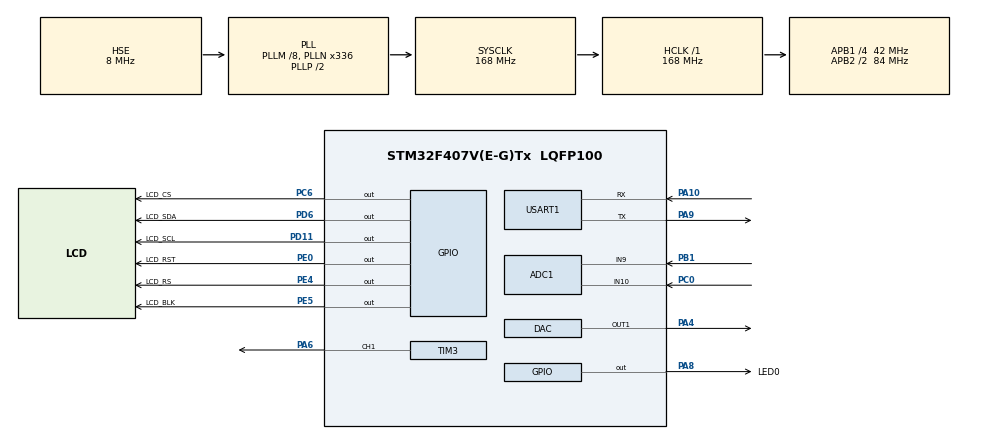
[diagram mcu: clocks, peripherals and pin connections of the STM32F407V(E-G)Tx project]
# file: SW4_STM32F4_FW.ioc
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ADC1.Channel-0\#ChannelRegularConversion=ADC_CHANNEL_9
ADC1.Channel-1\#ChannelRegularConversion=ADC_CHANNEL_10
ADC1.Channel-2\#ChannelRegularConversion=ADC_CHANNEL_TEMPSENSOR
ADC1.ContinuousConvMode=ENABLE
ADC1.DMAContinuousRequests=ENABLE
ADC1.NbrOfConversion=3
ADC1.NbrOfConversionFlag=1
ADC1.Rank-0\#ChannelRegularConversion=1
ADC1.Rank-1\#ChannelRegularConversion=2
ADC1.Rank-2\#ChannelRegularConversion=3
ADC1.SamplingTime-0\#ChannelRegularConversion=ADC_SAMPLETIME_144CYCLES
ADC1.SamplingTime-1\#ChannelRegularConversion=ADC_SAMPLETIME_144CYCLES
ADC1.SamplingTime-2\#ChannelRegularConversion=ADC_SAMPLETIME_144CYCLES
ADC1.ScanConvMode=ENABLE
ADC1.master=1
DAC.DAC_Trigger=DAC_TRIGGER_T6_TRGO
DAC.TriangleAmplitude=DAC_TRIANGLEAMPLITUDE_4095
DAC.WaveGeneration=TriangleWaveGeneration
Dma.ADC1.0.Direction=DMA_PERIPH_TO_MEMORY
Dma.ADC1.0.FIFOMode=DMA_FIFOMODE_DISABLE
Dma.ADC1.0.Instance=DMA2_Stream0
Dma.ADC1.0.MemDataAlignment=DMA_MDATAALIGN_HALFWORD
Dma.ADC1.0.MemInc=DMA_MINC_ENABLE
Dma.ADC1.0.Mode=DMA_NORMAL
Dma.ADC1.0.PeriphDataAlignment=DMA_PDATAALIGN_HALFWORD
Dma.ADC1.0.PeriphInc=DMA_PINC_DISABLE
Dma.ADC1.0.Priority=DMA_PRIORITY_LOW
Dma.DAC1.1.Direction=DMA_MEMORY_TO_PERIPH
Dma.DAC1.1.FIFOMode=DMA_FIFOMODE_DISABLE
Dma.DAC1.1.Instance=DMA1_Stream5
Dma.DAC1.1.MemDataAlignment=DMA_MDATAALIGN_HALFWORD
Dma.DAC1.1.MemInc=DMA_MINC_ENABLE
Dma.DAC1.1.Mode=DMA_NORMAL
Dma.DAC1.1.PeriphDataAlignment=DMA_PDATAALIGN_HALFWORD
Dma.DAC1.1.PeriphInc=DMA_PINC_DISABLE
Dma.DAC1.1.Priority=DMA_PRIORITY_LOW
Dma.Request0=ADC1
Dma.Request1=DAC1
Mcu.Family=STM32F4
Mcu.Name=STM32F407V(E-G)Tx
Mcu.Package=LQFP100
NVIC.ADC_IRQn=true\:2\:0\:true\:false\:true\:true\:true
NVIC.DMA1_Stream5_IRQn=true\:1\:0\:true\:false\:true\:false\:true
NVIC.DMA2_Stream0_IRQn=true\:1\:0\:true\:false\:true\:false\:true
NVIC.PriorityGroup=NVIC_PRIORITYGROUP_4
NVIC.TIM3_IRQn=true\:2\:0\:true\:false\:true\:true\:true
NVIC.TIM6_DAC_IRQn=true\:2\:0\:true\:false\:true\:true\:true
NVIC.USART1_IRQn=true\:1\:0\:true\:false\:true\:true\:true
PA10.Mode=Asynchronous
PA10.Signal=USART1_RX
PA13.Mode=Serial_Wire
PA13.Signal=SYS_JTMS-SWDIO
PA14.Mode=Serial_Wire
PA14.Signal=SYS_JTCK-SWCLK
PA4.Signal=COMP_DAC1_group
PA6.Signal=S_TIM3_CH1
PA8.GPIO_Label=LED0
PA8.GPIO_PuPd=GPIO_PULLDOWN
PA8.PinState=GPIO_PIN_SET
PA8.Signal=GPIO_Output
PA9.Mode=Asynchronous
PA9.Signal=USART1_TX
PB1.Signal=ADCx_IN9
PC0.Signal=ADCx_IN10
PC14-OSC32_IN.Mode=LSE-External-Oscillator
PC14-OSC32_IN.Signal=RCC_OSC32_IN
PC15-OSC32_OUT.Mode=LSE-External-Oscillator
PC15-OSC32_OUT.Signal=RCC_OSC32_OUT
PC6.GPIO_Label=LCD_CS
PC6.GPIO_PuPd=GPIO_PULLUP
PC6.GPIO_Speed=GPIO_SPEED_FREQ_VERY_HIGH
PC6.PinState=GPIO_PIN_SET
PC6.Signal=GPIO_Output
PD11.GPIO_Label=LCD_SCL
PD11.GPIO_PuPd=GPIO_PULLUP
PD11.GPIO_Speed=GPIO_SPEED_FREQ_VERY_HIGH
PD11.PinState=GPIO_PIN_SET
PD11.Signal=GPIO_Output
PD6.GPIO_Label=LCD_SDA
PD6.GPIO_PuPd=GPIO_PULLUP
PD6.GPIO_Speed=GPIO_SPEED_FREQ_VERY_HIGH
PD6.PinState=GPIO_PIN_SET
PD6.Signal=GPIO_Output
PE0.GPIO_Label=LCD_RST
PE0.GPIO_PuPd=GPIO_PULLUP
PE0.GPIO_Speed=GPIO_SPEED_FREQ_VERY_HIGH
PE0.PinState=GPIO_PIN_SET
PE0.Signal=GPIO_Output
PE4.GPIO_Label=LCD_RS
PE4.GPIO_PuPd=GPIO_PULLUP
PE4.GPIO_Speed=GPIO_SPEED_FREQ_VERY_HIGH
PE4.PinState=GPIO_PIN_SET
PE4.Signal=GPIO_Output
PE5.GPIO_Label=LCD_BLK
PE5.GPIO_PuPd=GPIO_PULLUP
PE5.GPIO_Speed=GPIO_SPEED_FREQ_VERY_HIGH
PE5.PinState=GPIO_PIN_SET
PE5.Signal=GPIO_Output
PH0-OSC_IN.Mode=HSE-External-Oscillator
PH0-OSC_IN.Signal=RCC_OSC_IN
PH1-OSC_OUT.Mode=HSE-External-Oscillator
PH1-OSC_OUT.Signal=RCC_OSC_OUT
ProjectManager.HeapSize=0x200
ProjectManager.StackSize=0x400
ProjectManager.TargetToolchain=SW4STM32
RCC.48MHZClocksFreq_Value=84000000
RCC.AHBFreq_Value=168000000
RCC.APB1CLKDivider=RCC_HCLK_DIV4
RCC.APB1Freq_Value=42000000
RCC.APB1TimFreq_Value=84000000
RCC.APB2CLKDivider=RCC_HCLK_DIV2
RCC.APB2Freq_Value=84000000
RCC.APB2TimFreq_Value=168000000
RCC.CortexFreq_Value=168000000
RCC.HCLKFreq_Value=168000000
RCC.HSE_VALUE=8000000
RCC.HSI_VALUE=16000000
RCC.PLLM=8
RCC.PLLN=336
RCC.PLLSourceVirtual=RCC_PLLSOURCE_HSE
RCC.SYSCLKFreq_VALUE=168000000
RCC.SYSCLKSource=RCC_SYSCLKSOURCE_PLLCLK
RCC.VCOOutputFreq_Value=336000000
SH.ADCx_IN10.0=ADC1_IN10,IN10
SH.ADCx_IN9.0=ADC1_IN9,IN9
SH.COMP_DAC1_group.0=DAC_OUT1,DAC_OUT1
SH.S_TIM3_CH1.0=TIM3_CH1,PWM Generation1 CH1
TIM3.AutoReloadPreload=TIM_AUTORELOAD_PRELOAD_DISABLE
TIM3.Channel-PWM\ Generation1\ CH1=TIM_CHANNEL_1
TIM3.Period=999
TIM3.Prescaler=83
TIM3.Pulse-PWM\ Generation1\ CH1=0
TIM6.AutoReloadPreload=TIM_AUTORELOAD_PRELOAD_ENABLE
TIM6.Period=10
TIM6.TIM_MasterOutputTrigger=TIM_TRGO_UPDATE
USART1.VirtualMode=VM_ASYNC
VP_ADC1_TempSens_Input.Mode=IN-TempSens
VP_TIM3_VS_ClockSourceINT.Mode=Internal
VP_TIM6_VS_ClockSourceINT.Mode=Enable_Timer
board=custom

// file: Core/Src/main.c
/* USER CODE BEGIN Header */
/**
  ******************************************************************************
  * @file           : main.c
  * @brief          : Main program body
  ******************************************************************************
  * @attention
  *
  * <h2><center>&copy; Copyright (c) 2022 STMicroelectronics.
  * All rights reserved.</center></h2>
  *
  * This software component is licensed by ST under BSD 3-Clause license,
  * the "License"; You may not use this file except in compliance with the
  * License. You may obtain a copy of the License at:
  *                        opensource.org/licenses/BSD-3-Clause
  *
  ******************************************************************************
  */
/* USER CODE END Header */
#include "main.h"
#include "adc.h"
#include "dac.h"
#include "dma.h"
#include "tim.h"
#include "usart.h"
#include "gpio.h"

/* USER CODE BEGIN Includes */
#include "delay.h"
#include "GUI.h"
#include "Lcd_Driver.h"
#include "adc_function.h"
#include "ntc.h"
#include "fft.h"
#include "arm_math.h"
/* USER CODE END Includes */

/* USER CODE BEGIN PV */
volatile uint16_t pulse = 0;
__IO uint8_t uart1_rx_buf[5];
__IO uint8_t Rx_Flag;
/* USER CODE END PV */

void SystemClock_Config(void);

int main(void)
{

    /* MCU Configuration--------------------------------------------------------*/

    /* Reset of all peripherals, Initializes the Flash interface and the Systick. */
    HAL_Init();

    /* Configure the system clock */
    SystemClock_Config();

    /* Initialize all configured peripherals */
    MX_GPIO_Init();
    MX_DMA_Init();
    MX_ADC1_Init();
    MX_DAC_Init();
    MX_TIM6_Init();
    MX_TIM3_Init();
    MX_USART1_UART_Init();
    /* USER CODE BEGIN 2 */
    //初始化液晶屏以及延时函数
    delay_init(168);
    Lcd_Init();
    LCD_BLK_SET;//开启背光
    Lcd_Clear(BLACK);
    //启动定时器
    HAL_TIM_PWM_Start(&htim3, TIM_CHANNEL_1);
    HAL_TIM_Base_Start_IT(&htim3);
    HAL_TIM_Base_Start(&htim6);
    //启动ADC&&DAC
    HAL_DAC_Start(&hdac, DAC_CHANNEL_1);
    HAL_ADC_Start_DMA(&hadc1, (uint32_t *) &ADC_Value, 384);
    //绘制静态数据
    Gui_DrawFont_GBK16(0, 0, YELLOW, BLACK, "LLHAO-FW1");
    Gui_DrawFont_GBK16(0, 20, YELLOW, BLACK, "MCU_TEMP:");
    Gui_DrawFont_GBK16(100, 20, YELLOW, BLACK, "℃");
    Gui_DrawFont_GBK16(0, 36, YELLOW, BLACK, "NTC_TEMP:");
    Gui_DrawFont_GBK16(100, 36, YELLOW, BLACK, "℃");
    //Gui_DrawFont_GBK16(0, 66, YELLOW, BLACK, "WAVE");
    //启动串口
    HAL_UART_Receive_IT(&huart1, (uint8_t *) uart1_rx_buf, 5);
    /* USER CODE END 2 */

    /* Infinite loop */
    while (1)
    {

        /* USER CODE BEGIN 3 */
        delay_ms(8);
        //Lcd_custer_Clear(128, 160, 0, 50, BLACK);
        HAL_ADC_Stop_DMA(&hadc1);
        //采样&&发生
        ADC_FUNCTION();
        TEMP_DATA();
        //温度显示
        LCD_ShowNum(70, 20, MCU_TEMP, 3);//芯片温度
        LCD_ShowNum(70, 36, NTC_TEMP, 3);//NTC温度
        //绘制波形&&局部清屏
//        LCD_DrawWave(ADC_IN10_Value, 1, 159, 55, YELLOW);
        //DMA校正
        HAL_ADC_Start_DMA(&hadc1, (uint32_t *) &ADC_Value, 384);

        //串口数据测试
        if (Rx_Flag == 1)
        {
            HAL_UART_Transmit_IT(&huart1, (uint8_t *) uart1_rx_buf, 5);
            Rx_Flag = 0;
            HAL_UART_Receive_IT(&huart1, (uint8_t *) uart1_rx_buf, 5);
        }

        //快速傅里叶变换
        FFT_Function();
        LCD_DrawFFTWave(FFT_MAG_Outputdata, 1, 159, 100, Half_FFT_Len, BLUE);

    }
    /* USER CODE END 3 */
}

void SystemClock_Config(void)
{
    RCC_OscInitTypeDef RCC_OscInitStruct = {0};
    RCC_ClkInitTypeDef RCC_ClkInitStruct = {0};

    /** Configure the main internal regulator output voltage
    */
    __HAL_RCC_PWR_CLK_ENABLE();
    __HAL_PWR_VOLTAGESCALING_CONFIG(PWR_REGULATOR_VOLTAGE_SCALE1);
    /** Initializes the RCC Oscillators according to the specified parameters
    * in the RCC_OscInitTypeDef structure.
    */
    RCC_OscInitStruct.OscillatorType = RCC_OSCILLATORTYPE_HSE;
    RCC_OscInitStruct.HSEState = RCC_HSE_ON;
    RCC_OscInitStruct.PLL.PLLState = RCC_PLL_ON;
    RCC_OscInitStruct.PLL.PLLSource = RCC_PLLSOURCE_HSE;
    RCC_OscInitStruct.PLL.PLLM = 8;
    RCC_OscInitStruct.PLL.PLLN = 336;
    RCC_OscInitStruct.PLL.PLLP = RCC_PLLP_DIV2;
    RCC_OscInitStruct.PLL.PLLQ = 4;
    if (HAL_RCC_OscConfig(&RCC_OscInitStruct) != HAL_OK)
    {
        Error_Handler();
    }
    /** Initializes the CPU, AHB and APB buses clocks
    */
    RCC_ClkInitStruct.ClockType = RCC_CLOCKTYPE_HCLK | RCC_CLOCKTYPE_SYSCLK
                                  | RCC_CLOCKTYPE_PCLK1 | RCC_CLOCKTYPE_PCLK2;
    RCC_ClkInitStruct.SYSCLKSource = RCC_SYSCLKSOURCE_PLLCLK;
    RCC_ClkInitStruct.AHBCLKDivider = RCC_SYSCLK_DIV1;
    RCC_ClkInitStruct.APB1CLKDivider = RCC_HCLK_DIV4;
    RCC_ClkInitStruct.APB2CLKDivider = RCC_HCLK_DIV2;

    if (HAL_RCC_ClockConfig(&RCC_ClkInitStruct, FLASH_LATENCY_5) != HAL_OK)
    {
        Error_Handler();
    }
}

/* USER CODE BEGIN 4 */
void HAL_TIM_PeriodElapsedCallback(TIM_HandleTypeDef *htim)
{
    if (htim->Instance == TIM3)
    {
        if (pulse < 1000)
        {
            pulse++;
        } else
        {
            pulse = 0;
            HAL_GPIO_TogglePin(LED0_GPIO_Port, LED0_Pin);//清零提示
        }

        __HAL_TIM_SET_COMPARE(&htim3, TIM_CHANNEL_1, pulse);

    }

}

void HAL_UART_RxCpltCallback(UART_HandleTypeDef *huart)
{
    if (huart->Instance == USART1)//判断是不是串口1引起的串口接收中断（所有串口的接收中断都进这个回调函数。因此要判断一下是哪个串口引发的，中断回调函数中的内容一定要简洁，以避免阻塞）
    {
        Rx_Flag = 1;
    }
}

/* USER CODE END 4 */

void Error_Handler(void)
{
    __disable_irq();
    while (1)
    {
    }
}

/************************ (C) COPYRIGHT STMicroelectronics *****END OF FILE****/
